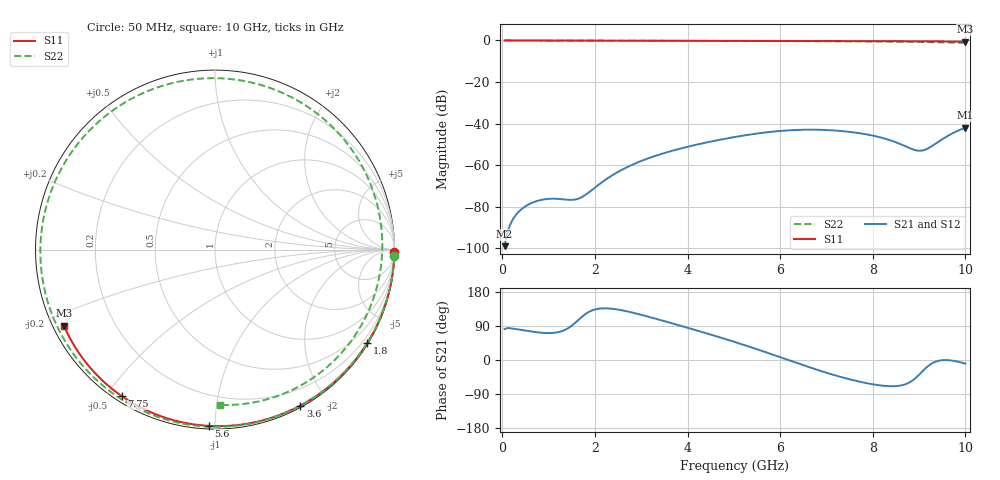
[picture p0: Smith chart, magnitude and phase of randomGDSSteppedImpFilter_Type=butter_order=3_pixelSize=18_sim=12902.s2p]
! freq	dB(S11)	phase(S11)	dB(S12)	phase(S12)
!  dB(S21)	phase(S21)	dB(S22)	phase(S22)
!S-par simulation data
#  GHz  S  DB  R 50
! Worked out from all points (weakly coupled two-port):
!   200 points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, 50 MHz to 10 GHz, reference 50 ohm
!   highest |S21| = -42.07 dB at 10 GHz (marker M1); lowest = -99.1 dB at 50 MHz (marker M2)
!   lowest |S11| = -0.5 dB at 10 GHz (marker M3), VSWR 33.63, Z = 1.57 - j11.8 ohm
!   |S11| at or under -10 dB: nowhere
!   |S22| runs from -1.2 to 0.0 dB; largest |S21 - S12| = 0
!   S11 on the Smith chart (normalised r, x): 50 MHz: open; 1.8 GHz: 0.03, -3.55; 3.6 GHz: 0.02, -1.69; 5.6 GHz: 0.02, -0.97; 7.75 GHz: 0.02, -0.55; 10 GHz: 0.03, -0.24
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0.05  -0.00 -0.9  -99.08 81.6  -99.08 81.6  -0.00 -2.1
0.5  -0.01 -8.9  -79.88 77.5  -79.88 77.5  -0.03 -20.9
0.8  -0.02 -14.1  -77.00 72.5  -77.00 72.5  -0.04 -33.3
1.55  -0.03 -27.2  -76.71 95.5  -76.71 95.5  -0.08 -63.4
1.75  -0.04 -30.6  -75.03 117.1  -75.03 117.1  -0.09 -71.1
1.8  -0.04 -31.5  -74.30 121.6  -74.30 121.6  -0.09 -73.1
2.55  -0.06 -44.1  -62.68 131.9  -62.68 131.9  -0.12 -101.2
3.4  -0.08 -58.1  -54.91 106.0  -54.91 106.0  -0.16 -131.7
3.6  -0.08 -61.3  -53.57 99.1  -53.57 99.1  -0.17 -138.8
4.35  -0.10 -73.1  -49.42 72.6  -49.42 72.6  -0.21 -165.3
5.05  -0.13 -83.8  -46.39 46.4  -46.39 46.4  -0.26 169.3
5.6  -0.15 -91.9  -44.54 24.2  -44.54 24.2  -0.29 148.4
6.2  -0.18 -100.6  -43.27 -1.2  -43.27 -1.2  -0.34 123.9
6.7  -0.21 -107.7  -42.97 -22.0  -42.97 -22.0  -0.38 102.0
7.25  -0.25 -115.4  -43.50 -42.7  -43.50 -42.7  -0.42 75.9
7.75  -0.28 -122.3  -44.80 -58.1  -44.80 -58.1  -0.47 50.4
8.35  -0.34 -130.6  -47.87 -69.1  -47.87 -69.1  -0.55 17.5
8.7  -0.37 -135.4  -50.91 -64.2  -50.91 -64.2  -0.62 -2.9
9.05  -0.41 -140.2  -53.07 -32.7  -53.07 -32.7  -0.73 -24.1
9.2  -0.42 -142.2  -51.91 -15.4  -51.91 -15.4  -0.78 -33.6
9.55  -0.46 -147.1  -46.89 -0.2  -46.89 -0.2  -0.95 -56.5
10  -0.52 -153.3  -42.07 -9.4  -42.07 -9.4  -1.25 -88.1
